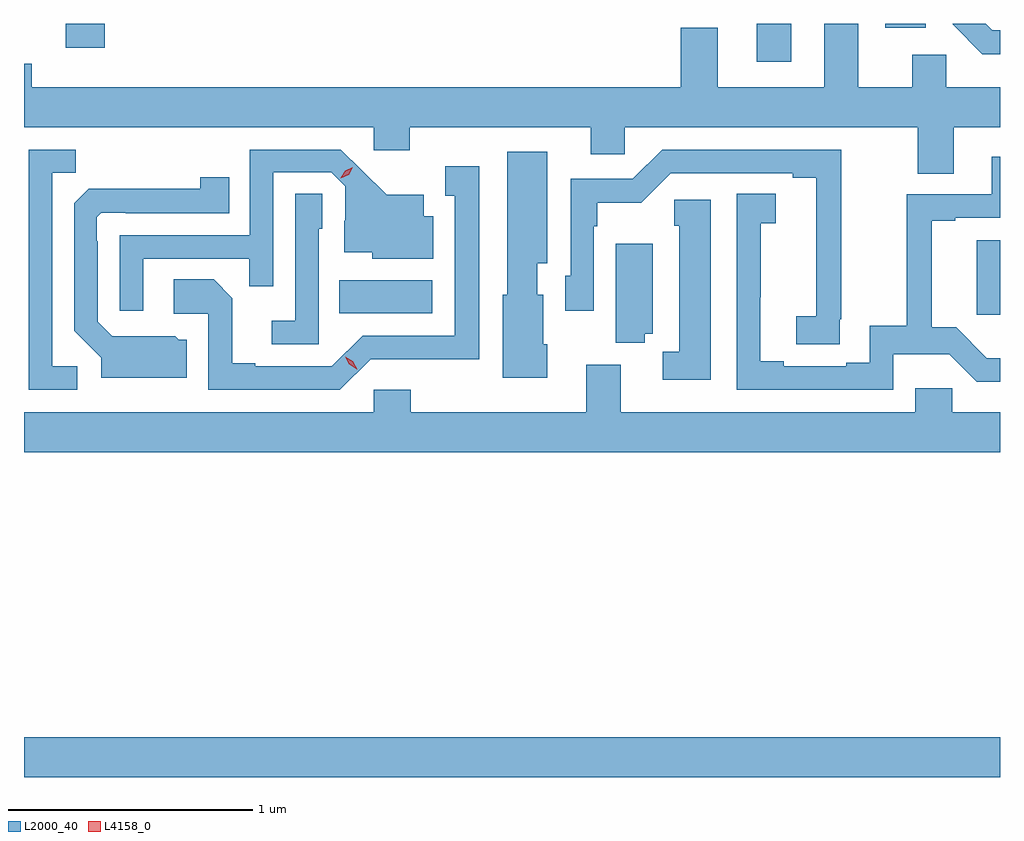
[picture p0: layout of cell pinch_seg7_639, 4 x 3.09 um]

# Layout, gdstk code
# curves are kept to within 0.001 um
import gdstk
lib = gdstk.Library(unit=1e-6, precision=1e-09)
def R(c, l, rs):  # rectangles x0, y0, x1, y1
    for r in rs: c.add(gdstk.rectangle(r[:2], r[2:], *l))
def P(c, l, *ps):  # polygons
    for p in ps: c.add(gdstk.Polygon(p, *l))
L2000_40 = (2000, 40)
L4158_0 = (4158, 0)

pinch_seg7_639 = lib.new_cell('pinch_seg7_639')
R(pinch_seg7_639, L2000_40, [(167.155,1004.612,171.155,1004.776), (171.059,1006.508,171.155,1006.813), (168.448,1006.514,168.829,1006.648), (170.159,1007.544,170.299,1007.7), (167.327,1007.601,167.485,1007.7), (170.685,1007.684,170.851,1007.7)])
P(pinch_seg7_639, L2000_40, [(171.155,1007.673),(171.123,1007.673),(171.096,1007.7),(170.961,1007.7),(170.961,1007.697),(171.082,1007.576),(171.155,1007.576)],
  [(170.965,1007.276),(171.155,1007.276),(171.155,1007.44),(170.934,1007.44),(170.934,1007.572),(170.795,1007.572),(170.795,1007.44),(170.575,1007.44),(170.575,1007.7),(170.435,1007.7),(170.435,1007.44),(169.999,1007.44),(169.999,1007.683),(169.847,1007.683),(169.847,1007.44),(167.186,1007.44),(167.186,1007.536),(167.155,1007.536),(167.155,1007.276),(168.588,1007.276),(168.588,1007.181),(168.735,1007.181),(168.735,1007.276),(169.478,1007.276),(169.478,1007.166),(169.617,1007.166),(169.617,1007.276),(170.818,1007.276),(170.818,1007.086),(170.965,1007.086)],
  [(170.498,1006.489),(170.504,1006.489),(170.504,1007.184),(169.77,1007.184),(169.65,1007.064),(169.395,1007.064),(169.395,1006.668),(169.374,1006.668),(169.374,1006.524),(169.491,1006.524),(169.491,1006.871),(169.504,1006.871),(169.504,1006.967),(169.685,1006.967),(169.806,1007.088),(170.306,1007.088),(170.306,1007.068),(170.402,1007.068),(170.401,1006.502),(170.319,1006.502),(170.319,1006.387),(170.498,1006.387)],
  [(167.643,1006.737),(168.079,1006.737),(168.079,1006.624),(168.177,1006.624),(168.177,1007.091),(168.414,1007.091),(168.471,1007.034),(168.471,1006.892),(168.467,1006.892),(168.467,1006.763),(168.582,1006.763),(168.582,1006.736),(168.832,1006.736),(168.832,1006.912),(168.793,1006.912),(168.793,1006.999),(168.641,1006.999),(168.454,1007.184),(168.081,1007.184),(168.081,1006.833),(167.547,1006.833),(167.547,1006.524),(167.643,1006.524)],
  [(167.374,1006.296),(167.271,1006.296),(167.271,1007.089),(167.367,1007.089),(167.367,1007.184),(167.175,1007.184),(167.175,1006.2),(167.374,1006.2)],
  [(169.3,1006.386),(169.284,1006.386),(169.284,1006.59),(169.258,1006.59),(169.258,1006.718),(169.3,1006.718),(169.3,1007.176),(169.136,1007.176),(169.136,1006.59),(169.118,1006.59),(169.118,1006.25),(169.3,1006.25)],
  [(170.718,1006.346),(170.947,1006.346),(171.06,1006.233),(171.155,1006.233),(171.155,1006.33),(171.101,1006.33),(170.975,1006.456),(170.876,1006.456),(170.876,1006.893),(170.971,1006.893),(170.971,1006.905),(171.155,1006.905),(171.155,1007.155),(171.122,1007.155),(171.122,1007.001),(170.773,1007.001),(170.773,1006.463),(170.622,1006.463),(170.622,1006.31),(170.525,1006.31),(170.525,1006.296),(170.269,1006.296),(170.269,1006.316),(170.173,1006.316),(170.173,1006.579),(170.175,1006.579),(170.175,1006.883),(170.236,1006.883),(170.236,1007.003),(170.076,1007.003),(170.076,1006.2),(170.718,1006.2)],
  [(168.576,1006.326),(169.021,1006.325),(169.021,1007.116),(168.881,1007.116),(168.881,1006.995),(168.92,1006.995),(168.92,1006.422),(168.543,1006.422),(168.417,1006.296),(168.103,1006.296),(168.103,1006.309),(168.009,1006.309),(168.009,1006.576),(167.933,1006.652),(167.769,1006.652),(167.769,1006.512),(167.91,1006.512),(167.91,1006.2),(168.45,1006.2)],
  [(167.821,1006.404),(167.79,1006.404),(167.774,1006.42),(167.517,1006.419),(167.457,1006.479),(167.457,1006.808),(167.454,1006.808),(167.454,1006.908),(167.472,1006.926),(167.572,1006.926),(167.572,1006.923),(167.996,1006.923),(167.996,1007.071),(167.878,1007.071),(167.878,1007.024),(167.42,1007.023),(167.361,1006.964),(167.361,1006.442),(167.471,1006.332),(167.471,1006.25),(167.821,1006.25)],
  [(168.363,1006.86),(168.378,1006.86),(168.378,1007.003),(168.267,1007.003),(168.267,1006.483),(168.171,1006.483),(168.171,1006.386),(168.363,1006.386)],
  [(169.969,1006.978),(169.819,1006.978),(169.819,1006.872),(169.841,1006.872),(169.841,1006.356),(169.773,1006.356),(169.773,1006.241),(169.969,1006.241)],
  [(169.7,1006.43),(169.732,1006.43),(169.732,1006.798),(169.58,1006.798),(169.58,1006.393),(169.7,1006.393)],
  [(171.155,1006.108),(170.959,1006.108),(170.959,1006.206),(170.807,1006.206),(170.807,1006.108),(169.6,1006.108),(169.6,1006.303),(169.46,1006.303),(169.46,1006.108),(168.74,1006.108),(168.74,1006.201),(168.588,1006.201),(168.588,1006.108),(167.155,1006.108),(167.155,1005.944),(171.155,1005.944)])
P(pinch_seg7_639, L4158_0, [(168.454,1007.067),(168.454,1007.068),(168.472,1007.097),(168.502,1007.112),(168.503,1007.112),(168.503,1007.112),(168.485,1007.082),(168.454,1007.067)],
  [(168.519,1006.284),(168.488,1006.304),(168.471,1006.336),(168.471,1006.336),(168.472,1006.336),(168.503,1006.317),(168.52,1006.285),(168.52,1006.284)])

lib.write_gds('pinch_seg7_639.gds')
